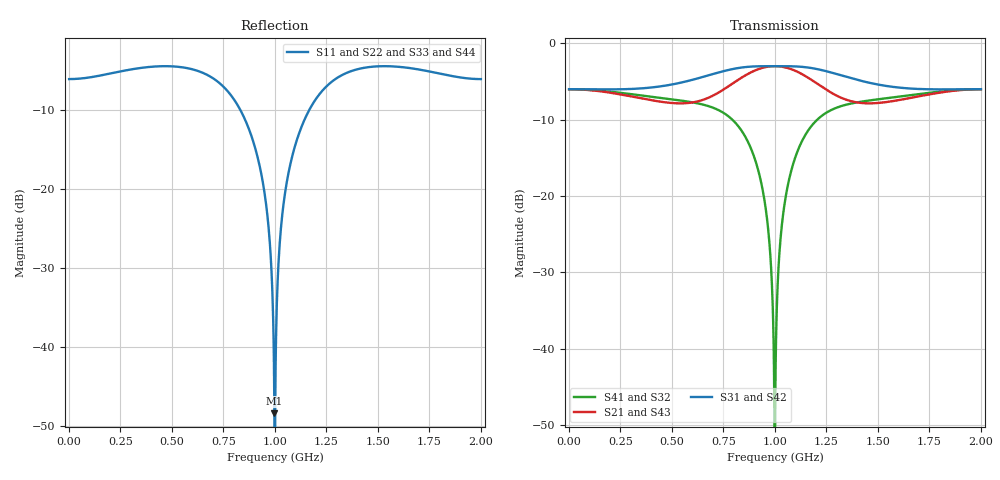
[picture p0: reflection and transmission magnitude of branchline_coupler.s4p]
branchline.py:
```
import numpy as np
import skrf as rf
import matplotlib.pyplot as plt

# Branchline coupler schematic
#
#                    --------
# Port 1 --------+--|   Z1   |--+-------- Port 2
#                |   --------   |
#              ----            ----
#             |    |          |    |
#             | Z2 |          | Z2 |
#             |    |          |    |
#             |    |          |    |
#              ----            ----
#                |   --------   |
# Port 4 --------+--|   Z2   |--+-------- Port 3
#                    --------

# Define the frequency range
freq = rf.Frequency(start=0, stop=2, npoints=1001, unit='GHz')

# Characteristic impedance of ports
z0_ports = 50

# Calculate impedance and propagation constant for branch lines
z0_main = z0_ports / np.sqrt(2)
z0_branches = z0_ports
beta = freq.w / rf.c
line_branches = rf.media.DefinedGammaZ0(frequency=freq, z0=z0_branches, gamma=0 + beta * 1j)
line_main = rf.media.DefinedGammaZ0(frequency=freq, z0=z0_main, gamma=0 + beta * 1j)

# Electrical length for 90 degrees at 1 GHz
d = line_branches.theta_2_d(90, deg=True)  # @ 90°(lambda/4)@ 1 GHz is ~ 75 mm

# Create the branch lines and main lines
branch1 = line_branches.line(d, unit='m', name='branch1')
branch2 = line_branches.line(d, unit='m', name='branch2')
main1 = line_main.line(d, unit='m', name='main1')
main2 = line_main.line(d, unit='m', name='main2')

# Create the ports
port1 = rf.Circuit.Port(freq, name='port1')
port2 = rf.Circuit.Port(freq, name='port2')
port3 = rf.Circuit.Port(freq, name='port3')
port4 = rf.Circuit.Port(freq, name='port4')

# Create the branchline coupler network with the defined connections
# Note that the order of appearance of the port in the setup is important
connections = [
    [(port1, 0),   (main1, 0),   (branch1, 0)],
    [(port2, 0),   (main1, 1),   (branch2, 0)],
    [(port3, 0),   (main2, 1),   (branch2, 1)],
    [(port4, 0),   (main2, 0),   (branch1, 1)]
]

# Create the network from the connections
network = rf.Circuit(connections).network

# Renormalize the ports to 50 Ohms
network.renormalize(50)

# Plot the S-parameters
network.plot_s_db(m=0, n=1, label='S21')
network.plot_s_db(m=0, n=2, label='S31')
network.plot_s_db(m=0, n=3, label='S41')
network.plot_s_db(m=0, n=0, label='S11')

plt.ylim(-20, 0)
plt.title('Branchline Coupler S-Parameters')
plt.legend()
plt.show()

# Export the S-parameters to an S4P file
network.frequency.unit = 'Hz'
network.write_touchstone('branchline_coupler.s4p')
```
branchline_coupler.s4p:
!Created with skrf (http://scikit-rf.org).
# Hz S RI R 50.0
!freq ReS11 ImS11 ReS12 ImS12 ReS13 ImS13
! ReS14 ImS14
! ReS21 ImS21 ReS22 ImS22 ReS23 ImS23
! ReS24 ImS24
! ReS31 ImS31 ReS32 ImS32 ReS33 ImS33
! ReS34 ImS34
! ReS41 ImS41 ReS42 ImS42 ReS43 ImS43
! ReS44 ImS44
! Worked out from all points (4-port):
!   1000 points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, 2 MHz to 2 GHz, reference 50 ohm
!   strongest paths, dB at 2 MHz, 502 MHz, 1.002 GHz, 1.502 GHz, 2 GHz:
!     S31: -6.0, -5.4, -3.0, -5.4, -6.0
!     S42: -6.0, -5.4, -3.0, -5.4, -6.0
!     S21: -6.0, -7.8, -3.0, -7.8, -6.0
!     S43: -6.0, -7.8, -3.0, -7.8, -6.0
!     S41: -6.0, -7.4, -48.4, -7.3, -6.0
!     S32: -6.0, -7.4, -48.4, -7.3, -6.0
!   lowest |S11| = -48.4 dB at 998 MHz (marker M1), VSWR 1.01, Z = 50 + j0.379 ohm
!   |S11| at or under -10 dB: 834.1 MHz to 1.166 GHz (331.8 MHz wide, 33.2 % of centre)
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2000000  -0.5 -0.00023  0.5 -0.00199  0.5 -0.00291  0.5 -0.00245
         0.5 -0.00199  -0.5 -0.00023  0.5 -0.00245  0.5 -0.00291
         0.5 -0.00291  0.5 -0.00245  -0.5 -0.00023  0.5 -0.00199
         0.5 -0.00245  0.5 -0.00291  0.5 -0.00199  -0.5 -0.00023
9.98e8  -1.68e-05 0.00379  0.00536 -0.7071  -0.7071 -0.00536  -0.00379 -4.07e-05
        0.00536 -0.7071  -1.68e-05 0.00379  -0.00379 -4.07e-05  -0.7071 -0.00536
        -0.7071 -0.00536  -0.00379 -4.07e-05  -1.68e-05 0.00379  0.00536 -0.7071
        -0.00379 -4.07e-05  -0.7071 -0.00536  0.00536 -0.7071  -1.68e-05 0.00379
2e9  -0.5 -1.39e-17  -0.5 2.06e-16  0.5 -2.95e-16  -0.5 2.5e-16
     -0.5 1.94e-16  -0.5 -2.43e-17  -0.5 2.5e-16  0.5 -2.99e-16
     0.5 -3.05e-16  -0.5 2.48e-16  -0.5 -1.73e-17  -0.5 2.03e-16
     -0.5 2.78e-16  0.5 -2.97e-16  -0.5 2.01e-16  -0.5 -2.39e-17
